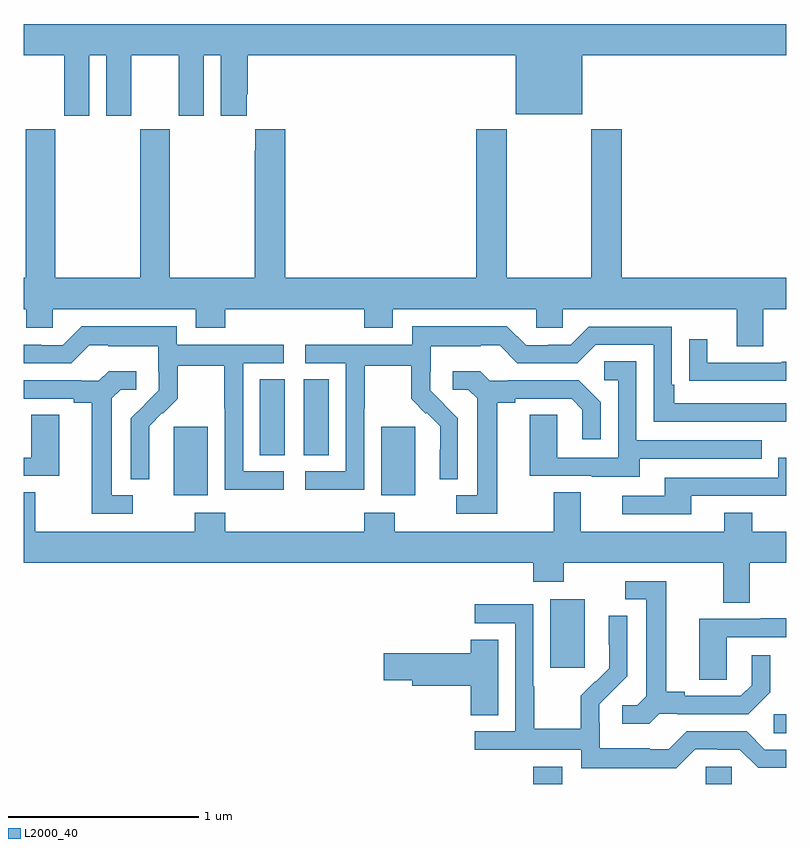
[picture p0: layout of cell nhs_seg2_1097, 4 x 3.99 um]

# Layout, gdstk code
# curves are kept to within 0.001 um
import gdstk
lib = gdstk.Library(unit=1e-6, precision=1e-09)
def R(c, l, rs):  # rectangles x0, y0, x1, y1
    for r in rs: c.add(gdstk.rectangle(r[:2], r[2:], *l))
def P(c, l, *ps):  # polygons
    for p in ps: c.add(gdstk.Polygon(p, *l))
L2000_40 = (2000, 40)

nhs_seg2_1097 = lib.new_cell('nhs_seg2_1097')
R(nhs_seg2_1097, L2000_40, [(169.673,655.8,169.825,655.891), (170.577,655.8,170.715,655.89), (170.934,656.065,171,656.166), (169.763,656.409,169.942,656.77), (167.786,657.314,167.965,657.675), (168.875,657.314,169.054,657.675), (168.239,657.526,168.37,657.923), (168.47,657.526,168.601,657.923)])
P(nhs_seg2_1097, L2000_40, [(167.344,659.624),(167.432,659.624),(167.432,659.307),(167.563,659.307),(167.563,659.624),(167.813,659.624),(167.813,659.307),(167.944,659.307),(167.944,659.624),(168.032,659.624),(168.032,659.307),(168.169,659.307),(168.169,659.419),(168.176,659.419),(168.176,659.624),(169.58,659.624),(169.58,659.315),(169.93,659.315),(169.93,659.624),(171,659.624),(171,659.788),(167,659.788),(167,659.624),(167.213,659.624),(167.213,659.307),(167.344,659.307)],
  [(170.881,658.292),(171,658.292),(171,658.456),(170.138,658.456),(170.138,659.236),(169.978,659.236),(169.978,658.456),(169.533,658.456),(169.533,659.236),(169.373,659.236),(169.373,658.456),(168.371,658.456),(168.371,659.236),(168.215,659.236),(168.215,659.123),(168.211,659.123),(168.211,658.456),(167.766,658.456),(167.766,659.236),(167.611,659.236),(167.611,658.456),(167.166,658.456),(167.166,659.236),(167.011,659.236),(167.011,658.456),(167,658.456),(167,658.292),(167.013,658.292),(167.013,658.194),(167.151,658.194),(167.151,658.292),(167.903,658.292),(167.903,658.193),(168.056,658.193),(168.056,658.292),(168.785,658.292),(168.785,658.193),(168.937,658.193),(168.937,658.292),(169.689,658.292),(169.689,658.194),(169.827,658.194),(169.827,658.292),(170.741,658.292),(170.741,658.098),(170.881,658.098)],
  [(168.364,657.441),(168.15,657.441),(168.15,658.008),(168.364,658.008),(168.364,658.104),(167.802,658.104),(167.802,658.201),(167.305,658.201),(167.205,658.101),(167.09,658.101),(167.09,658.104),(167,658.104),(167,658.008),(167.25,658.008),(167.343,658.101),(167.443,658.101),(167.443,658.097),(167.706,658.097),(167.706,657.963),(167.708,657.963),(167.708,657.866),(167.562,657.718),(167.562,657.4),(167.658,657.4),(167.657,657.677),(167.727,657.747),(167.73,657.744),(167.807,657.821),(167.807,657.996),(168.052,657.996),(168.052,657.772),(168.054,657.772),(168.054,657.343),(168.364,657.343)],
  [(168.786,657.772),(168.789,657.772),(168.789,657.996),(169.033,657.996),(169.033,657.821),(169.11,657.744),(169.113,657.747),(169.184,657.677),(169.184,657.554),(169.182,657.554),(169.182,657.4),(169.278,657.4),(169.278,657.718),(169.132,657.866),(169.132,657.963),(169.134,657.963),(169.134,658.097),(169.397,658.097),(169.397,658.101),(169.497,658.101),(169.59,658.008),(169.905,658.008),(170.001,658.104),(170.304,658.104),(170.304,657.702),(171,657.702),(171,657.798),(170.413,657.798),(170.413,657.895),(170.4,657.895),(170.4,658.2),(169.965,658.2),(169.869,658.104),(169.751,658.104),(169.751,658.101),(169.635,658.101),(169.535,658.201),(169.038,658.201),(169.038,658.104),(168.477,658.104),(168.477,658.008),(168.69,658.008),(168.69,657.441),(168.477,657.441),(168.477,657.343),(168.786,657.343)],
  [(171,658.016),(170.977,658.016),(170.977,658.011),(170.587,658.011),(170.587,658.135),(170.491,658.135),(170.491,657.916),(170.593,657.916),(170.593,657.915),(171,657.915)],
  [(170.233,657.507),(170.873,657.507),(170.873,657.603),(170.214,657.603),(170.214,658.019),(170.046,658.019),(170.046,657.918),(170.118,657.918),(170.118,657.513),(169.8,657.513),(169.8,657.737),(169.655,657.737),(169.655,657.417),(169.979,657.417),(169.979,657.413),(170.233,657.413)],
  [(167.572,657.315),(167.461,657.315),(167.461,657.823),(167.508,657.87),(167.59,657.87),(167.59,657.967),(167.446,657.967),(167.394,657.915),(167.3,657.915),(167.3,657.918),(167,657.918),(167,657.822),(167.261,657.822),(167.261,657.8),(167.357,657.8),(167.357,657.219),(167.572,657.219)],
  [(169.483,657.8),(169.579,657.8),(169.579,657.822),(169.874,657.822),(169.931,657.765),(169.931,657.609),(170.028,657.609),(170.028,657.802),(169.912,657.918),(169.54,657.918),(169.54,657.915),(169.446,657.915),(169.394,657.967),(169.251,657.967),(169.251,657.87),(169.332,657.87),(169.379,657.823),(169.379,657.315),(169.269,657.315),(169.269,657.219),(169.483,657.219)],
  [(167.185,657.737),(167.04,657.737),(167.04,657.513),(167,657.513),(167,657.417),(167.185,657.417)],
  [(170.503,657.312),(171,657.312),(171,657.511),(170.958,657.511),(170.958,657.408),(170.363,657.408),(170.363,657.312),(170.139,657.312),(170.139,657.216),(170.503,657.216)],
  [(170.809,656.96),(171,656.96),(171,657.124),(170.823,657.124),(170.823,657.223),(170.675,657.223),(170.675,657.124),(169.921,657.124),(169.921,657.332),(169.781,657.332),(169.781,657.124),(168.945,657.124),(168.945,657.223),(168.785,657.223),(168.785,657.124),(168.056,657.124),(168.056,657.223),(167.896,657.223),(167.896,657.124),(167.059,657.124),(167.059,657.332),(167,657.332),(167,656.96),(169.673,656.96),(169.673,656.861),(169.833,656.861),(169.833,656.96),(170.669,656.96),(170.669,656.752),(170.809,656.752)],
  [(170.334,656.169),(170.428,656.169),(170.428,656.166),(170.8,656.166),(170.916,656.282),(170.916,656.476),(170.819,656.476),(170.819,656.319),(170.762,656.262),(170.467,656.262),(170.467,656.285),(170.371,656.285),(170.371,656.865),(170.157,656.865),(170.157,656.769),(170.267,656.769),(170.267,656.261),(170.22,656.214),(170.139,656.214),(170.139,656.117),(170.282,656.117)],
  [(170.523,655.983),(170.639,655.983),(170.639,655.98),(170.757,655.98),(170.853,655.884),(171,655.884),(171,655.98),(170.889,655.98),(170.793,656.076),(170.478,656.076),(170.385,655.983),(170.285,655.983),(170.285,655.987),(170.022,655.987),(170.022,656.121),(170.02,656.121),(170.02,656.218),(170.166,656.366),(170.166,656.684),(170.07,656.684),(170.07,656.53),(170.072,656.53),(170.072,656.408),(170.001,656.337),(169.998,656.34),(169.921,656.263),(169.921,656.089),(169.677,656.089),(169.677,656.312),(169.674,656.312),(169.674,656.742),(169.365,656.742),(169.365,656.643),(169.578,656.643),(169.578,656.076),(169.365,656.076),(169.365,655.98),(169.926,655.98),(169.926,655.883),(170.423,655.883)],
  [(170.688,656.571),(171,656.571),(171,656.671),(170.867,656.671),(170.867,656.667),(170.543,656.667),(170.543,656.347),(170.688,656.347)],
  [(169.489,656.558),(169.346,656.558),(169.346,656.487),(168.888,656.487),(168.888,656.345),(169.037,656.345),(169.037,656.315),(169.346,656.315),(169.346,656.161),(169.489,656.161)])

lib.write_gds('nhs_seg2_1097.gds')
